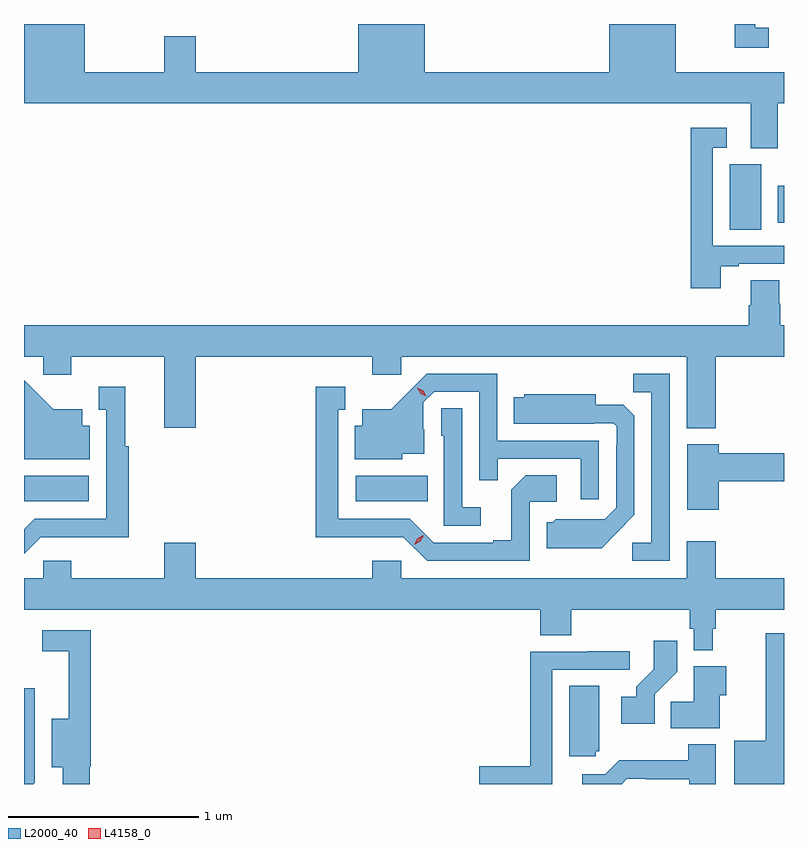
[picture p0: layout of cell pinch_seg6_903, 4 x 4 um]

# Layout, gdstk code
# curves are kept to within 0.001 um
import gdstk
lib = gdstk.Library(unit=1e-6, precision=1e-09)
def R(c, l, rs):  # rectangles x0, y0, x1, y1
    for r in rs: c.add(gdstk.rectangle(r[:2], r[2:], *l))
def P(c, l, *ps):  # polygons
    for p in ps: c.add(gdstk.Polygon(p, *l))
L2000_40 = (2000, 40)
L4158_0 = (4158, 0)

pinch_seg6_903 = lib.new_cell('pinch_seg6_903')
R(pinch_seg6_903, L2000_40, [(344.089,937.25,344.431,937.384), (345.834,937.25,346.214,937.384), (347.804,938.68,347.968,939.024), (348.056,938.715,348.089,938.911)])
P(pinch_seg6_903, L2000_40, [(347.915,939.109),(348.055,939.109),(348.055,939.344),(348.089,939.344),(348.089,939.508),(347.518,939.508),(347.518,939.762),(347.168,939.762),(347.168,939.508),(346.198,939.508),(346.198,939.762),(345.848,939.762),(345.848,939.508),(344.992,939.508),(344.992,939.697),(344.828,939.697),(344.828,939.508),(344.41,939.508),(344.41,939.762),(344.089,939.762),(344.089,939.344),(347.915,939.344)],
  [(348.01,939.741),(347.937,939.741),(347.937,939.762),(347.829,939.762),(347.829,939.636),(348.01,939.636)],
  [(347.755,938.487),(347.851,938.487),(347.851,938.499),(348.089,938.499),(348.089,938.595),(347.715,938.595),(347.715,939.111),(347.788,939.111),(347.788,939.217),(347.599,939.217),(347.599,938.37),(347.755,938.37)],
  [(347.729,938.012),(348.089,938.012),(348.089,938.176),(348.068,938.176),(348.068,938.289),(348.063,938.289),(348.063,938.414),(347.915,938.414),(347.915,938.282),(347.903,938.282),(347.903,938.176),(344.089,938.176),(344.089,938.012),(344.19,938.012),(344.19,937.917),(344.337,937.917),(344.337,938.012),(344.828,938.012),(344.828,937.638),(344.992,937.638),(344.992,938.012),(345.923,938.012),(345.923,937.917),(346.074,937.917),(346.074,938.012),(347.576,938.012),(347.576,937.634),(347.729,937.634)],
  [(347.487,937.92),(347.296,937.92),(347.296,937.825),(347.391,937.825),(347.391,937.032),(347.289,937.032),(347.289,936.936),(347.487,936.936)],
  [(347.115,937.569),(346.581,937.569),(346.581,937.92),(346.208,937.92),(346.021,937.735),(345.869,937.735),(345.869,937.648),(345.83,937.648),(345.83,937.472),(346.08,937.472),(346.08,937.499),(346.195,937.499),(346.195,937.628),(346.191,937.628),(346.191,937.77),(346.248,937.827),(346.485,937.827),(346.485,937.36),(346.583,937.36),(346.583,937.473),(347.019,937.473),(347.019,937.26),(347.115,937.26)],
  [(344.434,937.648),(344.395,937.648),(344.395,937.735),(344.243,937.735),(344.14,937.837),(344.089,937.887),(344.089,937.472),(344.434,937.472)],
  [(344.178,937.062),(344.641,937.061),(344.641,937.539),(344.623,937.539),(344.623,937.852),(344.483,937.852),(344.483,937.731),(344.522,937.731),(344.522,937.158),(344.145,937.158),(344.089,937.102),(344.089,936.973)],
  [(346.752,937.248),(346.894,937.248),(346.894,937.388),(346.729,937.388),(346.653,937.312),(346.653,937.045),(346.559,937.045),(346.559,937.032),(346.245,937.032),(346.119,937.158),(345.742,937.158),(345.742,937.731),(345.781,937.731),(345.781,937.852),(345.624,937.852),(345.624,937.061),(346.086,937.062),(346.212,936.936),(346.752,936.936)],
  [(347.209,937.085),(347.301,937.178),(347.301,937.7),(347.242,937.759),(347.098,937.759),(347.098,937.813),(346.722,937.813),(346.722,937.798),(346.666,937.798),(346.666,937.658),(347.09,937.658),(347.09,937.662),(347.19,937.662),(347.208,937.644),(347.208,937.544),(347.205,937.544),(347.205,937.215),(347.145,937.155),(346.888,937.156),(346.872,937.14),(346.841,937.14),(346.841,937.004),(347.129,937.004)],
  [(346.492,937.219),(346.395,937.219),(346.395,937.739),(346.284,937.739),(346.284,937.596),(346.299,937.596),(346.299,937.122),(346.492,937.122)],
  [(347.746,937.355),(348.089,937.355),(348.089,937.502),(347.746,937.502),(347.746,937.549),(347.579,937.549),(347.579,937.206),(347.746,937.206)],
  [(347.714,936.579),(347.729,936.579),(347.729,936.68),(348.089,936.68),(348.089,936.844),(347.729,936.844),(347.729,937.039),(347.576,937.039),(347.576,936.844),(346.074,936.844),(346.074,936.937),(345.923,936.937),(345.923,936.844),(344.992,936.844),(344.992,937.033),(344.828,937.033),(344.828,936.844),(344.337,936.844),(344.337,936.937),(344.19,936.937),(344.19,936.844),(344.089,936.844),(344.089,936.68),(346.805,936.68),(346.805,936.544),(346.97,936.544),(346.97,936.68),(347.593,936.68),(347.593,936.579),(347.613,936.579),(347.613,936.467),(347.714,936.467)],
  [(344.435,935.853),(344.441,935.853),(344.441,936.57),(344.184,936.57),(344.184,936.462),(344.324,936.462),(344.324,936.106),(344.234,936.106),(344.234,935.849),(344.294,935.849),(344.294,935.762),(344.435,935.762)],
  [(348.089,936.556),(347.993,936.556),(347.993,935.989),(347.828,935.989),(347.828,935.762),(348.089,935.762)],
  [(347.409,936.235),(347.528,936.354),(347.528,936.517),(347.403,936.517),(347.403,936.365),(347.312,936.275),(347.312,936.22),(347.232,936.22),(347.232,936.08),(347.409,936.08)],
  [(346.87,935.838),(346.869,935.838),(346.869,936.363),(347.278,936.363),(347.278,936.462),(347.053,936.462),(347.053,936.459),(346.753,936.459),(346.753,935.855),(346.485,935.855),(346.485,935.762),(346.87,935.762)],
  [(347.752,936.23),(347.785,936.23),(347.785,936.382),(347.615,936.382),(347.615,936.194),(347.494,936.194),(347.494,936.056),(347.752,936.056)],
  [(347.097,935.934),(347.116,935.934),(347.116,936.278),(346.958,936.278),(346.958,935.907),(347.097,935.907)],
  [(344.145,935.769),(344.145,936.265),(344.089,936.265),(344.089,935.762),(344.138,935.762)],
  [(347.262,935.79),(347.362,935.79),(347.362,935.787),(347.591,935.787),(347.591,935.762),(347.731,935.762),(347.731,935.971),(347.584,935.971),(347.584,935.887),(347.221,935.887),(347.148,935.814),(347.028,935.814),(347.028,935.762),(347.234,935.762)])
P(pinch_seg6_903, L4158_0, [(346.207,937.802),(346.176,937.817),(346.158,937.847),(346.158,937.847),(346.159,937.847),(346.189,937.832),(346.207,937.803),(346.207,937.802)],
  [(346.142,937.021),(346.142,937.021),(346.16,937.054),(346.191,937.072),(346.192,937.072),(346.192,937.072),(346.174,937.04),(346.142,937.021)])

lib.write_gds('pinch_seg6_903.gds')
